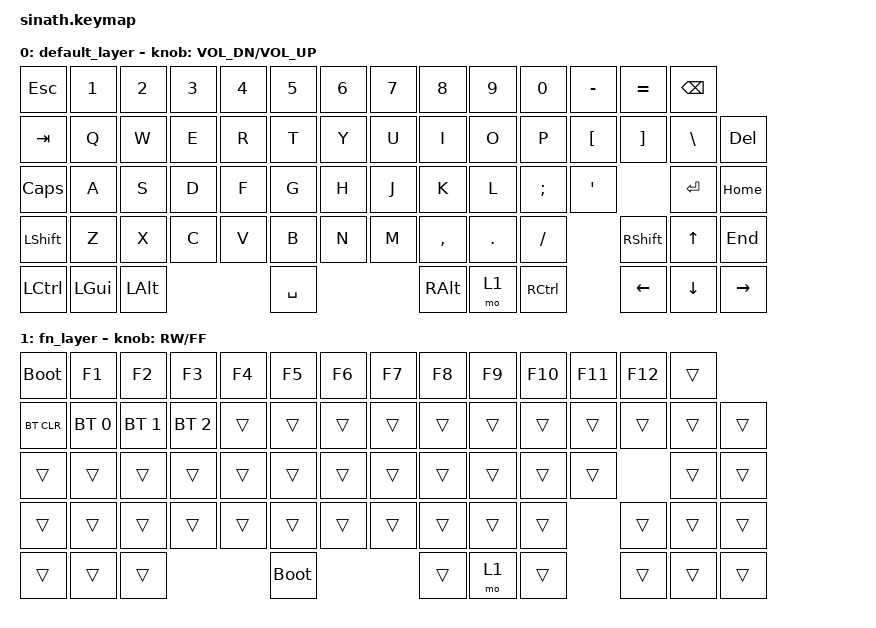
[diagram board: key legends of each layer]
/*
 * Copyright (c) 2022 The ZMK Contributors
 *
 * SPDX-License-Identifier: MIT
 */

#include <behaviors.dtsi>
#include <dt-bindings/zmk/keys.h>
#include <dt-bindings/zmk/bt.h>
#include <dt-bindings/zmk/outputs.h>
#include <dt-bindings/zmk/ext_power.h>

/ {
	keymap {
		compatible = "zmk,keymap";

		default_layer {

			bindings = <
    &kp ESC    &kp N1     &kp N2     &kp N3     &kp N4     &kp N5     &kp N6     &kp N7     &kp N8     &kp N9     &kp N0     &kp MINUS  &kp EQUAL  &kp BSPC
    &kp TAB    &kp Q      &kp W      &kp E      &kp R      &kp T      &kp Y      &kp U      &kp I      &kp O      &kp P      &kp LBKT   &kp RBKT   &kp BSLH   &kp DEL
    &kp CAPS   &kp A      &kp S      &kp D      &kp F      &kp G      &kp H      &kp J      &kp K      &kp L      &kp SEMI   &kp SQT               &kp ENTER  &kp HOME
	&kp LSHFT  &kp Z      &kp X      &kp C      &kp V      &kp B      &kp N      &kp M      &kp COMMA  &kp DOT    &kp FSLH              &kp RSHFT  &kp UP     &kp END
    &kp LCTRL  &kp LGUI   &kp LALT                         &kp SPACE                        &kp RALT   &mo 1      &kp RCTRL             &kp LEFT   &kp DOWN   &kp RIGHT
			>;
			
			sensor-bindings = <&inc_dec_kp C_VOL_DN C_VOL_UP>;
			
		};

		fn_layer {

			bindings = <
    &bootloader  &kp F1       &kp F2       &kp F3       &kp F4       &kp F5       &kp F6       &kp F7       &kp F8       &kp F9       &kp F10      &kp F11      &kp F12         &trans
    &bt BT_CLR   &bt BT_SEL 0 &bt BT_SEL 1 &bt BT_SEL 2 &trans       &trans       &trans       &trans       &trans       &trans       &trans       &trans       &trans          &trans          &trans
    &trans       &trans       &trans       &trans       &trans       &trans       &trans       &trans       &trans       &trans       &trans       &trans                       &trans          &trans
    &trans       &trans       &trans       &trans       &trans       &trans       &trans       &trans       &trans       &trans       &trans                    &trans &trans &trans
    &trans       &trans       &trans                                 &bootloader                            &trans       &mo 1        &trans                    &trans &trans &trans
			>;

			sensor-bindings = <&inc_dec_kp C_RW C_FF>;
			
		};
	};
};
